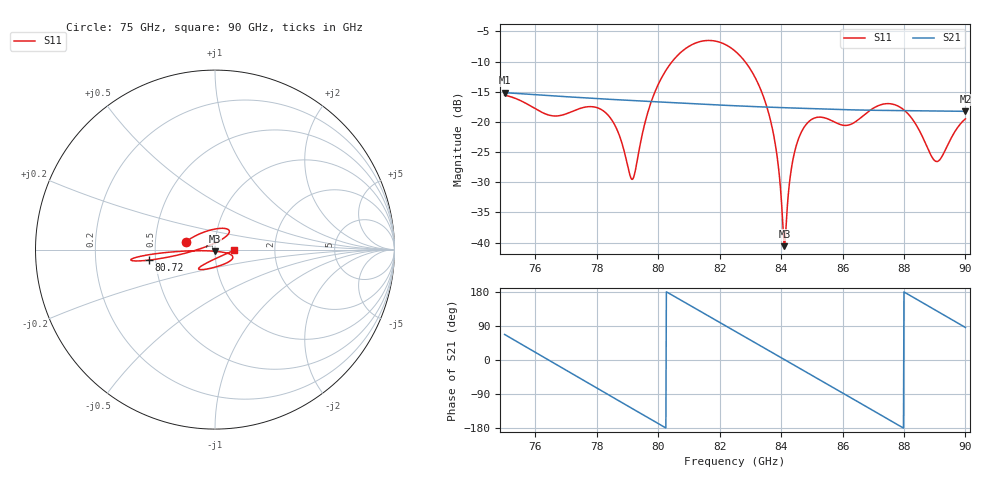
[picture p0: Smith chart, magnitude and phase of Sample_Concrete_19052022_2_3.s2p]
!SWISSto12 MCK measurement data
!name=Sample_Concrete_19052022_2_3
!thickness[mm]=18.000
# GHz S RI R 50.0
!freq ReS11 ImS11 ReS21 ImS21 ReS12 ImS12 ReS22 ImS22
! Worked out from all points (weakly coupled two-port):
!   961 points, 75 GHz to 90 GHz, reference 50 ohm
!   highest |S21| = -15.16 dB at 75 GHz (marker M1); lowest = -18.3 dB at 90 GHz (marker M2)
!   lowest |S11| = -40.6 dB at 84.11 GHz (marker M3), VSWR 1.02, Z = 49.9 - j0.925 ohm
!   |S11| at or under -10 dB: start of sweep to 80.46 GHz; 82.82 GHz to end of sweep
!   S12 and S22 are empty: the file has one direction only
!   S11 on the Smith chart (normalised r, x): 75 GHz: 0.72, +0.07; 80.72 GHz: 0.46, -0.06; 90 GHz: 1.24, -0.01
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75  -0.1603 0.0445  0.0671 0.1612  0 0  0 0
76.53125  -0.0437 0.1036  0.1639 -0.0136  0 0  0 0
77.5  0.0556 0.1177  0.1012 -0.1223  0 0  0 0
78.45312  0.0697 0.0811  -0.0139 -0.153  0 0  0 0
79.15625  -0.014 0.0303  -0.0929 -0.118  0 0  0 0
79.625  -0.111 -0.00456  -0.1284 -0.0737  0 0  0 0
80  -0.2018 -0.0291  -0.143 -0.0312  0 0  0 0
80.71875  -0.3687 -0.0587  -0.1335 0.0517  0 0  0 0
81.60938  -0.469 -0.0583  -0.0641 0.1238  0 0  0 0
82.5  -0.3851 -0.0314  0.033 0.1319  0 0  0 0
83.125  -0.2405 -0.0131  0.0914 0.0977  0 0  0 0
83.59375  -0.1183 -0.00642  0.1199 0.0561  0 0  0 0
83.875  -0.0504 -0.0065  0.1287 0.0274  0 0  0 0
84.10938  -0.000995 -0.00927  0.131 0.0026  0 0  0 0
84.29688  0.0326 -0.0128  0.1294 -0.0172  0 0  0 0
84.4375  0.0535 -0.0164  0.1262 -0.0317  0 0  0 0
85  0.0981 -0.0374  0.0983 -0.0831  0 0  0 0
86.1875  0.0199 -0.0918  -0.0123 -0.1254  0 0  0 0
87.5  -0.0905 -0.1089  -0.1144 -0.0484  0 0  0 0
88.20312  -0.0691 -0.0871  -0.1219 0.0213  0 0  0 0
89.04688  0.0169 -0.0438  -0.0802 0.0934  0 0  0 0
90  0.1058 -0.00435  0.00882 0.1219  0 0  0 0
